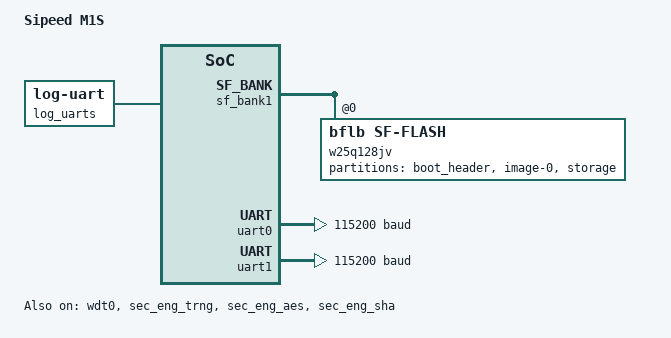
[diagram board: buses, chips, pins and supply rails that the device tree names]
/*
 * Copyright The Zephyr Project Contributors
 *
 * SPDX-License-Identifier: Apache-2.0
 */

/dts-v1/;

#include <bflb/bl808.dtsi>
#include "m1s-pinctrl.dtsi"

/ {
	model = "Sipeed M1S";
	compatible = "bflb,bl808";

	chosen {
		zephyr,flash-controller = &sf_bank1;
		zephyr,flash = &w25q128jv;
		zephyr,code-partition = &slot0_partition;
		zephyr,sram = &all_ram;
		zephyr,console = &uart0;
		zephyr,log-uart = &log_uarts;
		zephyr,shell-uart = &uart0;
		zephyr,entropy = &sec_eng_trng;
	};

	aliases {
		watchdog0 = &wdt0;
	};

	log_uarts: log_uarts {
		compatible = "zephyr,log-uart";
		uarts = <&uart1>;
	};
};

&clk_flash {
	clocks = <&clk_bclk>;
	divider = <1>;
};

&sf_ctrl {
	override-bank1;
};

&sf_bank1 {
	reg = <0x58000000 DT_SIZE_M(16)>;
	ranges = <0x0 0x58000000 DT_SIZE_M(16)>;

	w25q128jv: flash@0 {
		compatible = "bflb,sf-flash", "soc-nv-flash";
		reg = <0 DT_SIZE_M(16)>;
		ranges;
		#address-cells = <1>;
		#size-cells = <1>;
		write-block-size = <4>;
		erase-block-size = <DT_SIZE_K(4)>;

		spi-bus-mode = <4>;
		sf-pad = <2>;
		jedec-id = [ef 40 18];

		/* The flash equipped on M1S modules doesn't support useful SFDP, and the
		 * flash header doesn't provide a working configuration.
		 * Manually set configuration for best performance.
		 */
		read-command = <0xeb>;
		read-dummy-cycles = <2>;
		continuous-read-command = <0xa0>;

		partitions {
			ranges;
			#address-cells = <1>;
			#size-cells = <1>;

			boot_header_partition: partition@0 {
				compatible = "zephyr,mapped-partition";
				label = "boot_header";
				reg = <0x00000000 0x2000>;
				read-only;
			};

			slot0_partition: partition@2000 {
				compatible = "zephyr,mapped-partition";
				label = "image-0";
				reg = <0x00002000 (DT_SIZE_M(8) - 0x2000)>;
				read-only;
			};

			storage_partition: partition@800000 {
				compatible = "zephyr,mapped-partition";
				label = "storage";
				reg = <0x00800000 DT_SIZE_M(8)>;
			};
		};
	};
};

&psram_uhs_ctrl {
	status = "okay";
};

&cpu0 {
	clock-frequency = <DT_FREQ_M(320)>;
};

&uart0 {
	status = "okay";
	current-speed = <115200>;

	pinctrl-0 = <&uart0_default>;
	pinctrl-1 = <&uart0_sleep>;
	pinctrl-names = "default", "sleep";
};

&uart1 {
	status = "okay";
	current-speed = <115200>;

	pinctrl-0 = <&uart1_default>;
	pinctrl-1 = <&uart1_sleep>;
	pinctrl-names = "default", "sleep";
};

&gpio0 {
	status = "okay";
};

&gpio1 {
	status = "okay";
};

&wdt0 {
	status = "okay";
};

&sec_eng_trng {
	status = "okay";
};

&sec_eng_aes {
	status = "okay";
};

&sec_eng_sha {
	status = "okay";
};
